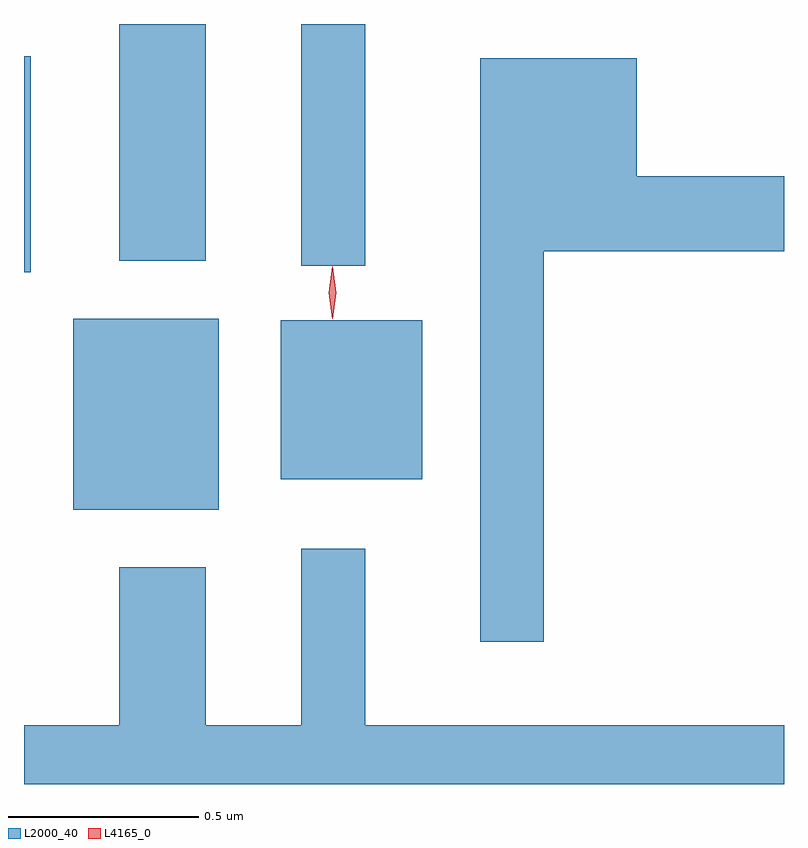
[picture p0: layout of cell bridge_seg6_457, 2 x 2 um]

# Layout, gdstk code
import gdstk
lib = gdstk.Library(unit=1e-6, precision=1e-09)
def R(c, l, rs):  # rectangles x0, y0, x1, y1
    for r in rs: c.add(gdstk.rectangle(r[:2], r[2:], *l))
def P(c, l, *ps):  # polygons
    for p in ps: c.add(gdstk.Polygon(p, *l))
L2000_40 = (2000, 40)
L4165_0 = (4165, 0)

bridge_seg6_457 = lib.new_cell('bridge_seg6_457')
R(bridge_seg6_457, L2000_40, [(824.511,1646.331,824.894,1646.834), (825.056,1646.411,825.429,1646.829), (824.381,1646.956,824.399,1647.524), (825.111,1646.973,825.279,1647.609), (824.631,1646.986,824.859,1647.609)])
P(bridge_seg6_457, L2000_40, [(825.749,1647.011),(826.381,1647.011),(826.381,1647.209),(825.994,1647.209),(825.994,1647.519),(825.581,1647.519),(825.581,1645.983),(825.749,1645.983)],
  [(826.381,1645.764),(825.279,1645.764),(825.279,1646.228),(825.111,1646.228),(825.111,1645.764),(824.859,1645.764),(824.859,1646.179),(824.631,1646.179),(824.631,1645.764),(824.381,1645.764),(824.381,1645.609),(826.381,1645.609)])
P(bridge_seg6_457, L4165_0, [(825.192,1646.834),(825.183,1646.902),(825.192,1646.97),(825.193,1646.97),(825.193,1646.97),(825.203,1646.902),(825.193,1646.834),(825.193,1646.834)],
  [(825.192,1646.838),(825.183,1646.902),(825.192,1646.967),(825.193,1646.967),(825.193,1646.967),(825.203,1646.902),(825.193,1646.838),(825.193,1646.838)])

lib.write_gds('bridge_seg6_457.gds')
